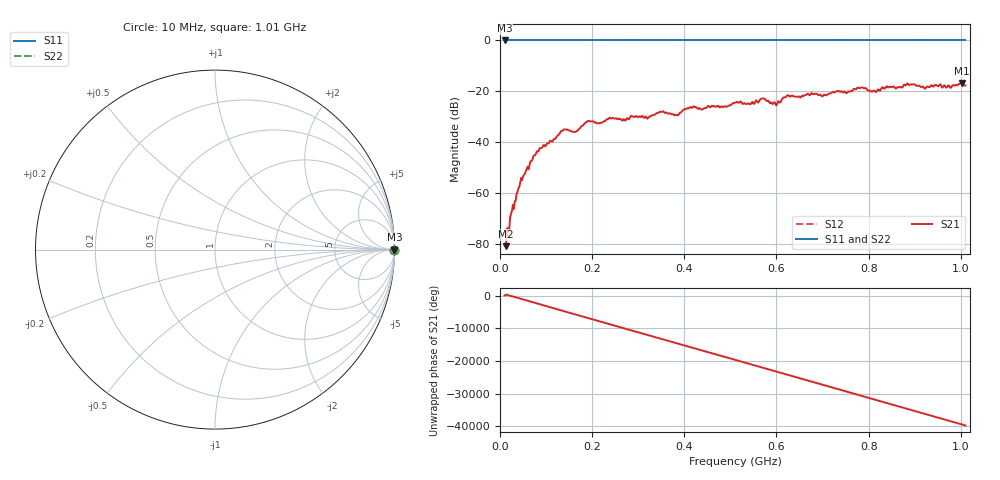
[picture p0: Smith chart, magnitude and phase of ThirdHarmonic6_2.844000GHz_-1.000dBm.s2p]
! 8/17/2025 7:39:35 AM
! C:\ANRITSUVNA\TEMP\TEMP.S2P
! CHANNEL.1
! TR.MEASUREMENT
! RAW.DATA
! RF.CORRECTION.OFF
! AVERAGING.OFF
! IF.BANDWIDTH: 5KHZ
! SWEEPTYPE:  FREQ.SWEEP(Linear)
! Reference Plane Port Info
! PORT:  PORT1  PORT2
! DISTANCE:  0  m  0  m
! TIME:  0  s  0  s
! PHASE.OFFSET:  0  deg.  0  deg.
! LOSS:  0  dB  0  dB
! REF.LOSS:  0  dB  0  dB
! REF.FREQ:  0  Hz  0  Hz
! Power Info
! POWER:  -20  dBm  -20  dBm
! EFF.POWER:  -20  dBm  -20  dBm
! SOURCE.ATTEN:  0  dB  0  dB
! TEST.ATTEN:  0  dB  0  dB
# GHZ S RI R 50.0
! FREQ.GHZ  S11RE  S11IM  S21RE  S21IM  S12RE  S12IM  S22RE  S22IM
!; PortSelection: Port_12
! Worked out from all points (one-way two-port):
!   501 points, 10 MHz to 1.01 GHz, reference 50 ohm
!   highest |S21| = -16.68 dB at 1.002 GHz (marker M1); lowest = -80.9 dB at 12 MHz (marker M2)
!   lowest |S11| = 0.0 dB at 10 MHz (marker M3)
!   |S11| at or under -10 dB: nowhere
!   |S22| runs from 0.0 to 0.0 dB; largest |S21 - S12| = 1.1
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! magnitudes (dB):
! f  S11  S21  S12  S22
! 10 MHz  0.0  -80.6  0.0  0.0
! 12 MHz  0.0  -80.9  0.0  0.0
! 26 MHz  0.0  -66.9  0.0  0.0
! 42 MHz  0.0  -57.5  0.0  0.0
! 76 MHz  0.0  -45.1  0.0  0.0
! 136 MHz  0.0  -35.5  0.0  0.0
! 164 MHz  0.0  -35.9  0.0  0.0
! 178 MHz  0.0  -33.6  0.0  0.0
! 192 MHz  0.0  -31.7  0.0  0.0
! 318 MHz  0.0  -30.3  0.0  0.0
! 344 MHz  0.0  -28.5  0.0  0.0
! 382 MHz  0.0  -29.2  0.0  0.0
! 416 MHz  0.0  -26.5  0.0  0.0
! 510 MHz  0.0  -24.5  0.0  0.0
! 540 MHz  0.0  -24.8  0.0  0.0
! 570 MHz  0.0  -22.8  0.0  0.0
! 596 MHz  0.0  -24.3  0.0  0.0
! 622 MHz  0.0  -21.8  0.0  0.0
! 678 MHz  0.0  -20.9  0.0  0.0
! 844 MHz  0.0  -18.4  0.0  0.0
! 1.002 GHz  0.0  -16.7  0.0  0.0
! 1.01 GHz  0.0  -17.7  0.0  0.0
